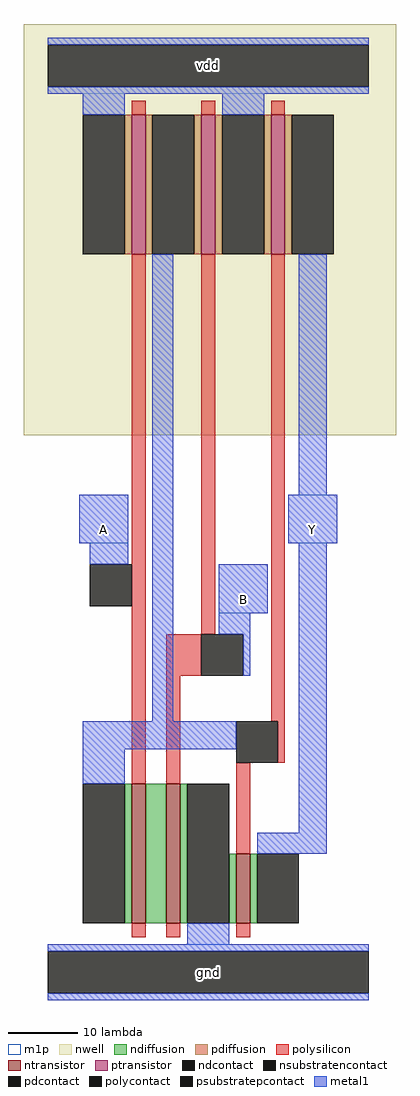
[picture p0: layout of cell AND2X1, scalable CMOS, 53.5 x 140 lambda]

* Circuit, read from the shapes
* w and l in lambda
.subckt AND2X1 A B Y vdd gnd
M1 n1 A n2 gnd nfet w=20 l=2
M2 gnd B n1 gnd nfet w=20 l=2
M3 Y n2 gnd gnd nfet w=10 l=2
M4 n2 A vdd vdd pfet w=20 l=2
M5 vdd B n2 vdd pfet w=20 l=2
M6 Y n2 vdd vdd pfet w=20 l=2
.ends

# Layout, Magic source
magic
tech scmos
magscale 1 2
<< nwell >>
rect -13 154 94 272
<< ntransistor >>
rect 18 14 22 54
rect 28 14 32 54
rect 48 14 52 34
<< ptransistor >>
rect 18 206 22 246
rect 38 206 42 246
rect 58 206 62 246
<< ndiffusion >>
rect 16 14 18 54
rect 22 14 28 54
rect 32 14 34 54
rect 46 14 48 34
rect 52 14 54 34
<< pdiffusion >>
rect 16 206 18 246
rect 22 206 24 246
rect 36 206 38 246
rect 42 206 44 246
rect 56 206 58 246
rect 62 206 64 246
<< ndcontact >>
rect 4 14 16 54
rect 34 14 46 54
rect 54 14 66 34
<< pdcontact >>
rect 4 206 16 246
rect 24 206 36 246
rect 44 206 56 246
rect 64 206 76 246
<< psubstratepcontact >>
rect -6 -6 86 6
<< nsubstratencontact >>
rect -6 254 86 266
<< polysilicon >>
rect 18 246 22 250
rect 38 246 42 250
rect 58 246 62 250
rect 18 54 22 206
rect 38 97 42 206
rect 28 85 38 97
rect 28 54 32 85
rect 58 72 62 206
rect 60 60 62 72
rect 48 34 52 60
rect 18 10 22 14
rect 28 10 32 14
rect 48 10 52 14
<< polycontact >>
rect 6 105 18 117
rect 38 85 50 97
rect 48 60 60 72
<< metal1 >>
rect -6 266 86 268
rect -6 252 86 254
rect 4 246 16 252
rect 44 246 56 252
rect 3 123 17 137
rect 6 117 17 123
rect 24 72 30 206
rect 66 137 74 206
rect 63 123 77 137
rect 43 103 57 117
rect 43 97 52 103
rect 50 85 52 97
rect 4 64 48 72
rect 4 54 16 64
rect 66 40 74 123
rect 54 34 74 40
rect 34 8 46 14
rect -6 6 86 8
rect -6 -8 86 -6
<< m1p >>
rect -6 252 86 268
rect 3 123 17 137
rect 63 123 77 137
rect 43 103 57 117
rect -6 -8 86 8
<< labels >>
rlabel nsubstratencontact 40 260 40 260 0 vdd
port 4 nsew power bidirectional abutment
rlabel psubstratepcontact 40 0 40 0 0 gnd
port 5 nsew ground bidirectional abutment
rlabel metal1 10 127 10 127 1 A
port 1 n signal input
rlabel metal1 50 107 50 107 5 B
port 2 n signal input
rlabel metal1 70 127 70 127 1 Y
port 3 n signal output
<< properties >>
string FIXED_BBOX 0 0 80 260
string LEFclass CORE
string LEFsite core
string LEFsymmetry X Y
<< end >>
